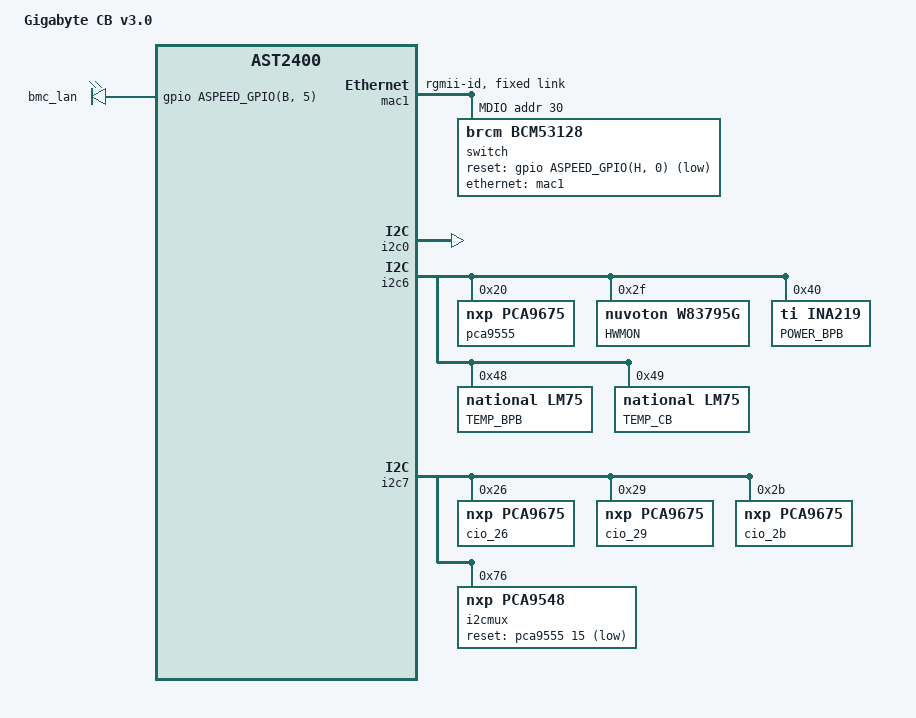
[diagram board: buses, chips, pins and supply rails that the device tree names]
/dts-v1/;
/plugin/;

#include <dt-bindings/gpio/gpio.h>
#include <dt-bindings/gpio/aspeed-gpio.h>

/ {
	compatible = "aspeed,ast2400";

	fragment@0 {
		target-path = "/";
		__overlay__ {
			model = "Gigabyte CB v3.0";
		};
	};

	fragment@1 {
		target = <&leds>;
		__overlay__ {
			bmc_lan {
				label = "bmc_lan";
				gpios = <&gpio ASPEED_GPIO(B, 5) GPIO_ACTIVE_HIGH>;
				linux,default-trigger = "netdev";
			};
		};
	};

	fragment@2 {
		target = <&mac1>;
		#address-cells = <1>;
		#size-cells = <0>;
		__overlay__ {
			#address-cells = <1>;
			#size-cells = <0>;
			compatible = "faraday,ftgmac100", "aspeed,ast2400-mac";
			reg = <0x1e680000 0x180>;
			interrupts = <3>;
			status = "okay";
			no-hw-checksum;

			pinctrl-names = "default";
			pinctrl-0 = <&pinctrl_rgmii2_default &pinctrl_mdio2_default>;

			phy-mode = "rgmii-id";

			fixed-link {
				speed = <1000>;
				max-speed = <1000>;
				full-duplex;
			};

			mdio {
				#address-cells = <1>;
				#size-cells = <0>;

				switch: ethernet-switch@1e {
					#address-cells = <1>;
					#size-cells = <0>;
					compatible = "brcm,bcm53128";
					reset-gpios = <&gpio ASPEED_GPIO(H, 0) GPIO_ACTIVE_LOW>;
					reg = <30>;

					ports {
						port0@0 {
							reg = <0>;
							label = "lan1";
						};

						port1@1 {
							reg = <1>;
							label = "lan2";
						};

						port2@2 {
							reg = <2>;
							label = "lan3";
						};

						port3@3 {
							reg = <3>;
							label = "lan4";
						};

						port4@4 {
							reg = <4>;
							label = "lan5";
						};

						port5@5 {
							reg = <5>;
							label = "lan6";
						};

						port6@6 {
							reg = <6>;
							label = "uplink";
						};

						port8@8 {
							reg = <8>;
							label = "cpu";
							phy-mode = "rgmii-id";
							ethernet = <&mac1>;
							fixed-link {
								speed = <1000>;
								max-speed = <1000>;
								full-duplex;
							};
						};
					};
				};
			};
		};
	};

	fragment@3 {
		target = <&i2c0>;
		__overlay__ {
			status = "okay";
		};
	};

	fragment@4 {
		target = <&i2c6>;
		__overlay__ {
			status = "okay";
					pca9555: gpio-expander@20 {
						compatible = "nxp,pca9675";
						gpio-controller;
						#gpio-cells = <2>;
						reg = <0x20>;
					};
					sensors {
						label = "HWMON";
						compatible = "nuvoton,w83795g";
						reg = <0x2f>;
					};
					power {
						label = "POWER_BPB";
						compatible = "ti,ina219";
						reg = <0x40>;
					};
					tmp@48 {
						label = "TEMP_BPB";
						compatible = "national,lm75";
						reg = <0x48>;
					};
					tmp@49 {
						label = "TEMP_CB";
						compatible = "national,lm75";
						reg = <0x49>;
					};
		};
	};

	fragment@5 {
		target = <&i2c7>;
		__overlay__ {
			/* Common i2c */
			status = "okay";

			cio_26: gpio-expander@26 {
				compatible = "nxp,pca9675";
				gpio-controller;
				#gpio-cells = <2>;
				reg = <0x26>;
			};

			cio_29: gpio-expander@29 {
				compatible = "nxp,pca9675";
				gpio-controller;
				#gpio-cells = <2>;
				reg = <0x29>;
				lines-initial-states = <0x1>;
			};

			cio_2b: gpio-expander@2b {
				compatible = "nxp,pca9675";
				gpio-controller;
				#gpio-cells = <2>;
				reg = <0x2b>;
			};

					i2cmux@76 {
						compatible = "nxp,pca9548";
						#address-cells = <1>;
						#size-cells = <0>;
						reg = <0x76>;
						reset-gpios = <&pca9555 15 GPIO_ACTIVE_LOW>;
						i2c_node1: i2c@0 {
						    #address-cells = <1>;
						    #size-cells = <0>;
						    reg = <0>;
						};
						i2c_node2: i2c@1 {
						    #address-cells = <1>;
						    #size-cells = <0>;
						    reg = <1>;
						};
						i2c_node3: i2c@2 {
						    #address-cells = <1>;
						    #size-cells = <0>;
						    reg = <2>;
						};
						i2c_node4: i2c@3 {
						    #address-cells = <1>;
						    #size-cells = <0>;
						    reg = <3>;
						};
						i2c_node5: i2c@4 {
						    #address-cells = <1>;
						    #size-cells = <0>;
						    reg = <4>;
						};
						i2c_node6: i2c@5 {
						    #address-cells = <1>;
						    #size-cells = <0>;
						    reg = <5>;
						};
						i2c_node7: i2c@6 {
						    #address-cells = <1>;
						    #size-cells = <0>;
						    reg = <6>;
						};
						i2c_node8: i2c@7 {
						    #address-cells = <1>;
						    #size-cells = <0>;
						    reg = <7>;
						};
					};
		};
	};
#if 0
	fragment@6 {
		target = <&ahb>;
		__overlay__ {
	spi0 {
		compatible = "spi-gpio";
		#address-cells = <0x1>;
		ranges;

		cs-gpios = <&cio_29 15 0>;  /* CS */
		gpio-sck = <&cio_29 12 0>;  /* SK */
		gpio-mosi = <&cio_29 14 0>; /* DI */
		gpio-miso = <&cio_29 13 0>; /* DO */
		num-chipselects = <1>;

		spidev@0 {
			compatible = "mx25l25635e", "jedec,spi-nor";
			#address-cells = <1>;
			#size-cells = <0>;
			reg = <0>;
			spi-max-frequency = <1000000>;
/*			spi-cs-high; */
		};
		};
	};

	spi0 {
		compatible = "spi-gpio";
		#address-cells = <0x1>;
		ranges;

		cs-gpios = <&cio_29 15 0>;  /* CS */
		gpio-sck = <&cio_29 12 0>;  /* SK */
		gpio-mosi = <&cio_29 14 0>; /* DI */
		gpio-miso = <&cio_29 13 0>; /* DO */
		num-chipselects = <1>;

		spidev@0 {
			compatible = "mx25l25635e", "jedec,spi-nor";
			#address-cells = <1>;
			#size-cells = <0>;
			reg = <0>;
			spi-max-frequency = <1000000>;
/*			spi-cs-high; */
		};
		};
	};
	};
#endif
};
